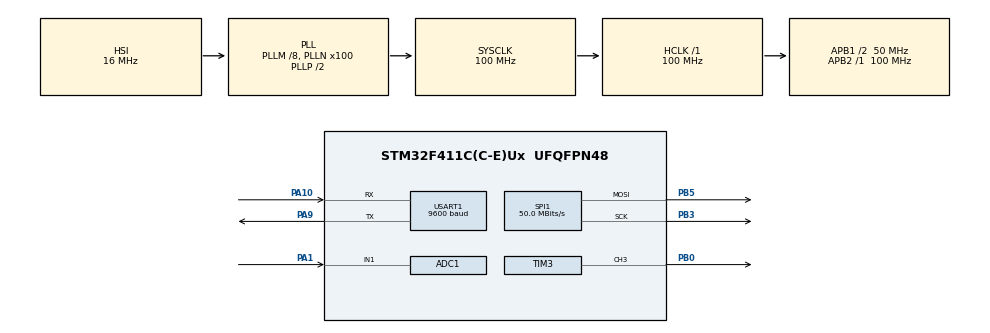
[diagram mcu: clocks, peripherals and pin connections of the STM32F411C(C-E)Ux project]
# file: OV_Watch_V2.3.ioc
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ADC1.Channel-0\#ChannelRegularConversion=ADC_CHANNEL_1
ADC1.NbrOfConversionFlag=1
ADC1.Rank-0\#ChannelRegularConversion=1
ADC1.SamplingTime-0\#ChannelRegularConversion=ADC_SAMPLETIME_3CYCLES
ADC1.master=1
Dma.Request0=SPI1_TX
Dma.Request1=USART1_RX
Dma.Request2=USART1_TX
Dma.SPI1_TX.0.Direction=DMA_MEMORY_TO_PERIPH
Dma.SPI1_TX.0.FIFOMode=DMA_FIFOMODE_DISABLE
Dma.SPI1_TX.0.Instance=DMA2_Stream2
Dma.SPI1_TX.0.MemDataAlignment=DMA_MDATAALIGN_HALFWORD
Dma.SPI1_TX.0.MemInc=DMA_MINC_ENABLE
Dma.SPI1_TX.0.Mode=DMA_NORMAL
Dma.SPI1_TX.0.PeriphDataAlignment=DMA_PDATAALIGN_HALFWORD
Dma.SPI1_TX.0.PeriphInc=DMA_PINC_DISABLE
Dma.SPI1_TX.0.Priority=DMA_PRIORITY_LOW
Dma.USART1_RX.1.Direction=DMA_PERIPH_TO_MEMORY
Dma.USART1_RX.1.FIFOMode=DMA_FIFOMODE_DISABLE
Dma.USART1_RX.1.Instance=DMA2_Stream5
Dma.USART1_RX.1.MemDataAlignment=DMA_MDATAALIGN_BYTE
Dma.USART1_RX.1.MemInc=DMA_MINC_ENABLE
Dma.USART1_RX.1.Mode=DMA_NORMAL
Dma.USART1_RX.1.PeriphDataAlignment=DMA_PDATAALIGN_BYTE
Dma.USART1_RX.1.PeriphInc=DMA_PINC_DISABLE
Dma.USART1_RX.1.Priority=DMA_PRIORITY_LOW
Dma.USART1_TX.2.Direction=DMA_MEMORY_TO_PERIPH
Dma.USART1_TX.2.FIFOMode=DMA_FIFOMODE_DISABLE
Dma.USART1_TX.2.Instance=DMA2_Stream7
Dma.USART1_TX.2.MemDataAlignment=DMA_MDATAALIGN_BYTE
Dma.USART1_TX.2.MemInc=DMA_MINC_ENABLE
Dma.USART1_TX.2.Mode=DMA_NORMAL
Dma.USART1_TX.2.PeriphDataAlignment=DMA_PDATAALIGN_BYTE
Dma.USART1_TX.2.PeriphInc=DMA_PINC_DISABLE
Dma.USART1_TX.2.Priority=DMA_PRIORITY_LOW
FREERTOS.Tasks01=defaultTask,24,128,StartDefaultTask,Default,NULL,Dynamic,NULL,NULL
FREERTOS.configUSE_IDLE_HOOK=1
FREERTOS.configUSE_TICK_HOOK=1
Mcu.Family=STM32F4
Mcu.Name=STM32F411C(C-E)Ux
Mcu.Package=UFQFPN48
NVIC.DMA2_Stream2_IRQn=true\:5\:0\:false\:false\:true\:true\:false\:true\:true
NVIC.DMA2_Stream5_IRQn=true\:5\:0\:false\:false\:true\:true\:false\:true\:true
NVIC.DMA2_Stream7_IRQn=true\:5\:0\:false\:false\:true\:true\:false\:true\:true
NVIC.PriorityGroup=NVIC_PRIORITYGROUP_4
NVIC.RTC_WKUP_IRQn=true\:5\:0\:false\:false\:true\:true\:true\:true\:true
NVIC.TIM1_UP_TIM10_IRQn=true\:15\:0\:false\:false\:true\:false\:false\:true\:true
NVIC.TimeBase=TIM1_UP_TIM10_IRQn
NVIC.TimeBaseIP=TIM1
NVIC.USART1_IRQn=true\:5\:0\:false\:false\:true\:true\:true\:true\:true
PA1.Signal=ADCx_IN1
PA10.Mode=Asynchronous
PA10.Signal=USART1_RX
PA13.Mode=Serial_Wire
PA13.Signal=SYS_JTMS-SWDIO
PA14.Mode=Serial_Wire
PA14.Signal=SYS_JTCK-SWCLK
PA9.Mode=Asynchronous
PA9.Signal=USART1_TX
PB0.Signal=S_TIM3_CH3
PB3.Mode=TX_Only_Simplex_Unidirect_Master
PB3.Signal=SPI1_SCK
PB5.Mode=TX_Only_Simplex_Unidirect_Master
PB5.Signal=SPI1_MOSI
PC14-OSC32_IN.Mode=LSE-External-Oscillator
PC14-OSC32_IN.Signal=RCC_OSC32_IN
PC15-OSC32_OUT.Mode=LSE-External-Oscillator
PC15-OSC32_OUT.Signal=RCC_OSC32_OUT
ProjectManager.HeapSize=0x200
ProjectManager.StackSize=0x400
ProjectManager.TargetToolchain=MDK-ARM V5.32
RCC.48MHZClocksFreq_Value=50000000
RCC.AHBFreq_Value=100000000
RCC.APB1CLKDivider=RCC_HCLK_DIV2
RCC.APB1Freq_Value=50000000
RCC.APB1TimFreq_Value=100000000
RCC.APB2Freq_Value=100000000
RCC.APB2TimFreq_Value=100000000
RCC.CortexFreq_Value=100000000
RCC.HCLKFreq_Value=100000000
RCC.HSE_VALUE=25000000
RCC.HSI_VALUE=16000000
RCC.PLLM=8
RCC.PLLN=100
RCC.RCC_RTC_Clock_Source=RCC_RTCCLKSOURCE_LSE
RCC.RCC_RTC_Clock_SourceVirtual=RCC_RTCCLKSOURCE_LSE
RCC.SYSCLKFreq_VALUE=100000000
RCC.SYSCLKSource=RCC_SYSCLKSOURCE_PLLCLK
RCC.VCOOutputFreq_Value=200000000
RTC.Date=21
RTC.Hours=11
RTC.Minutes=59
RTC.Month=RTC_MONTH_MAY
RTC.Seconds=55
RTC.WakeUpClock=RTC_WAKEUPCLOCK_RTCCLK_DIV16
RTC.WakeUpCounter=2000
RTC.WeekDay=RTC_WEEKDAY_SUNDAY
RTC.Year=23
SH.ADCx_IN1.0=ADC1_IN1,IN1
SH.S_TIM3_CH3.0=TIM3_CH3,PWM Generation3 CH3
SPI1.CLKPhase=SPI_PHASE_2EDGE
SPI1.CLKPolarity=SPI_POLARITY_HIGH
SPI1.CalculateBaudRate=50.0 MBits/s
SPI1.Direction=SPI_DIRECTION_2LINES
SPI1.Mode=SPI_MODE_MASTER
SPI1.VirtualType=VM_MASTER
TIM3.Channel-PWM\ Generation3\ CH3=TIM_CHANNEL_3
TIM3.Period=300
TIM3.Prescaler=99
USART1.BaudRate=9600
USART1.VirtualMode=VM_ASYNC
VP_FREERTOS_VS_CMSIS_V2.Mode=CMSIS_V2
VP_RTC_VS_RTC_Activate.Mode=RTC_Enabled
VP_RTC_VS_RTC_Calendar.Mode=RTC_Calendar
VP_RTC_VS_RTC_WakeUp_intern.Mode=WakeUp
VP_SYS_VS_tim1.Mode=TIM1
board=custom

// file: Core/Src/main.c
/* USER CODE BEGIN Header */
/**
  ******************************************************************************
  * @file           : main.c
  * @brief          : Main program body
  ******************************************************************************
  * @attention
  *
  * Copyright (c) 2023 STMicroelectronics.
  * All rights reserved.
  *
  * This software is licensed under terms that can be found in the LICENSE file
  * in the root directory of this software component.
  * If no LICENSE file comes with this software, it is provided AS-IS.
  *
  ******************************************************************************
  */
/* USER CODE END Header */
#include "main.h"
#include "cmsis_os.h"
#include "adc.h"
#include "dma.h"
#include "rtc.h"
#include "spi.h"
#include "tim.h"
#include "usart.h"
#include "gpio.h"

/* USER CODE BEGIN Includes */
#include "stm32f4xx_it.h"
#include "delay.h"
#include "lcd.h"
#include "lcd_init.h"
#include "CST816.h"
#include "SPL06_001.h"
#include "LSM303.h"
#include "mpu6050.h"
#include "AHT21.h"
#include "em70x8.h"
#include "BL24C02.h"
#include "DataSave.h"
#include "power.h"
#include "key.h"
#include "KT6328.h"
#include "inv_mpu.h"
#include "inv_mpu_dmp_motion_driver.h"
//gui
#include "lvgl.h"
#include "lv_port_disp.h"
#include "lv_port_indev.h"
#include "ui.h"

//Wrist setting
#include "user_MPUCheckTask.h"
//APP SYS setting
#include "ui_DateTimeSetPage.h"

/* USER CODE END Includes */

/* USER CODE BEGIN PV */
uint8_t Sensor_LSM303_Erro=1;
uint8_t Sensor_AHT21_Erro=1;
uint8_t Sensor_SPL_Erro=1;
uint8_t Sensor_EM_Erro=1;
uint8_t Sensor_MPU_Erro=1;

/* USER CODE END PV */

void SystemClock_Config(void);
void MX_FREERTOS_Init(void);

int main(void)
{
  /* USER CODE BEGIN 1 */
	//this must set same as keil setting
	SCB->VTOR = 0x0000C000U;
  /* USER CODE END 1 */

  /* MCU Configuration--------------------------------------------------------*/

  /* Reset of all peripherals, Initializes the Flash interface and the Systick. */
  HAL_Init();

  /* Configure the system clock */
  SystemClock_Config();

  /* USER CODE BEGIN SysInit */
	__enable_irq();
  /* USER CODE END SysInit */

  /* Initialize all configured peripherals */
  MX_GPIO_Init();
  MX_DMA_Init();
  MX_ADC1_Init();
  MX_RTC_Init();
  MX_SPI1_Init();
  MX_TIM3_Init();
  MX_USART1_UART_Init();
  /* USER CODE BEGIN 2 */
	//RTC Wake
	if(HAL_RTCEx_SetWakeUpTimer_IT(&hrtc, 2000, RTC_WAKEUPCLOCK_RTCCLK_DIV16) != HAL_OK)
  {
    Error_Handler();
  }
	//usart start
	HAL_UART_Receive_DMA(&huart1,(uint8_t*)HardInt_receive_str,25);
	__HAL_UART_ENABLE_IT(&huart1,UART_IT_IDLE);

	//PWM Start
	HAL_TIM_PWM_Start(&htim3,TIM_CHANNEL_3);

	//sys delay
	delay_init();
	//wait
	// delay_ms(1000);

	//power
	Power_Init();

	//key
	Key_Port_Init();

	//sensor
	uint8_t num = 3;
	while(num && Sensor_AHT21_Erro)
	{
		num--;
		Sensor_AHT21_Erro = AHT_Init();
	}

	num = 3;
	while(num && Sensor_LSM303_Erro)
	{
		num--;
		Sensor_LSM303_Erro = LSM303DLH_Init();
	}
	if(!Sensor_LSM303_Erro)
		LSM303DLH_Sleep();

	num = 3;
	while(num && Sensor_SPL_Erro)
	{
		num--;
		Sensor_SPL_Erro = SPL_init();
	}

	num = 3;
	while(num && Sensor_MPU_Erro)
	{
		num--;
		Sensor_MPU_Erro = mpu_dmp_init();
		//Sensor_MPU_Erro = MPU_Init();
	}

	num = 3;
	while(num && Sensor_EM_Erro)
	{
		num--;
		Sensor_EM_Erro = EM7028_hrs_init();
	}
	if(!Sensor_EM_Erro)
		EM7028_hrs_DisEnable();

	//EEPROM
	EEPROM_Init();
	if(!EEPROM_Check())
	{
		uint8_t recbuf[3];
		SettingGet(recbuf,0x10,2);
		if((recbuf[0]!=0 && recbuf[0]!=1) || (recbuf[1]!=0 && recbuf[1]!=1))
		{
			user_MPU_Wrist_EN = 0;
			user_APPSy_EN = 0;
		}
		else
		{
			user_MPU_Wrist_EN = recbuf[0];
			user_APPSy_EN = recbuf[1];
		}

		RTC_DateTypeDef nowdate;
		HAL_RTC_GetDate(&hrtc,&nowdate,RTC_FORMAT_BIN);

		SettingGet(recbuf,0x20,3);
		if(recbuf[0] == nowdate.Date)
		{
			uint16_t steps=0;
			steps = recbuf[1]&0x00ff;
			steps = steps<<8 | recbuf[2];
			if(!Sensor_MPU_Erro)
				dmp_set_pedometer_step_count((unsigned long)steps);
		}
	}

	//BLE
	KT6328_GPIO_Init();
	KT6328_Enable();

	//set the KT6328 BautRate 9600
	//default is 115200
	//printf("AT+CT01\r\n");

	//touch
	CST816_GPIO_Init();
	CST816_RESET();

	//lcd
	LCD_Init();
	LCD_Fill(0,0,LCD_W,LCD_H,BLACK);
	delay_ms(10);
	LCD_Set_Light(50);
	LCD_ShowString(72,LCD_H/2,(uint8_t*)"Welcome!",WHITE,BLACK,24,0);//12*6,16*8,24*12,32*16
	LCD_ShowString(42,LCD_H/2+48,(uint8_t*)"OV-Watch V2.3",WHITE,BLACK,24,0);
	delay_ms(1000);
	LCD_Fill(0,LCD_H/2-24,LCD_W,LCD_H/2+49,BLACK);

	//LVGL init
	lv_init();
	lv_port_disp_init();
	lv_port_indev_init();
	ui_init();

  /* USER CODE END 2 */

  /* Init scheduler */
  osKernelInitialize();  /* Call init function for freertos objects (in freertos.c) */
  MX_FREERTOS_Init();

  /* Start scheduler */
  osKernelStart();

  /* We should never get here as control is now taken by the scheduler */
  /* Infinite loop */
  while (1)
  {

  }
}

void SystemClock_Config(void)
{
  RCC_OscInitTypeDef RCC_OscInitStruct = {0};
  RCC_ClkInitTypeDef RCC_ClkInitStruct = {0};

  /** Configure the main internal regulator output voltage
  */
  __HAL_RCC_PWR_CLK_ENABLE();
  __HAL_PWR_VOLTAGESCALING_CONFIG(PWR_REGULATOR_VOLTAGE_SCALE1);

  /** Initializes the RCC Oscillators according to the specified parameters
  * in the RCC_OscInitTypeDef structure.
  */
  RCC_OscInitStruct.OscillatorType = RCC_OSCILLATORTYPE_HSI|RCC_OSCILLATORTYPE_LSE;
  RCC_OscInitStruct.LSEState = RCC_LSE_ON;
  RCC_OscInitStruct.HSIState = RCC_HSI_ON;
  RCC_OscInitStruct.HSICalibrationValue = RCC_HSICALIBRATION_DEFAULT;
  RCC_OscInitStruct.PLL.PLLState = RCC_PLL_ON;
  RCC_OscInitStruct.PLL.PLLSource = RCC_PLLSOURCE_HSI;
  RCC_OscInitStruct.PLL.PLLM = 8;
  RCC_OscInitStruct.PLL.PLLN = 100;
  RCC_OscInitStruct.PLL.PLLP = RCC_PLLP_DIV2;
  RCC_OscInitStruct.PLL.PLLQ = 4;
  if (HAL_RCC_OscConfig(&RCC_OscInitStruct) != HAL_OK)
  {
    Error_Handler();
  }

  /** Initializes the CPU, AHB and APB buses clocks
  */
  RCC_ClkInitStruct.ClockType = RCC_CLOCKTYPE_HCLK|RCC_CLOCKTYPE_SYSCLK
                              |RCC_CLOCKTYPE_PCLK1|RCC_CLOCKTYPE_PCLK2;
  RCC_ClkInitStruct.SYSCLKSource = RCC_SYSCLKSOURCE_PLLCLK;
  RCC_ClkInitStruct.AHBCLKDivider = RCC_SYSCLK_DIV1;
  RCC_ClkInitStruct.APB1CLKDivider = RCC_HCLK_DIV2;
  RCC_ClkInitStruct.APB2CLKDivider = RCC_HCLK_DIV1;

  if (HAL_RCC_ClockConfig(&RCC_ClkInitStruct, FLASH_LATENCY_3) != HAL_OK)
  {
    Error_Handler();
  }
}

void HAL_TIM_PeriodElapsedCallback(TIM_HandleTypeDef *htim)
{
  if (htim->Instance == TIM1) {
    HAL_IncTick();
  }
}

void Error_Handler(void)
{
  __disable_irq();
  while (1)
  {
  }
}
